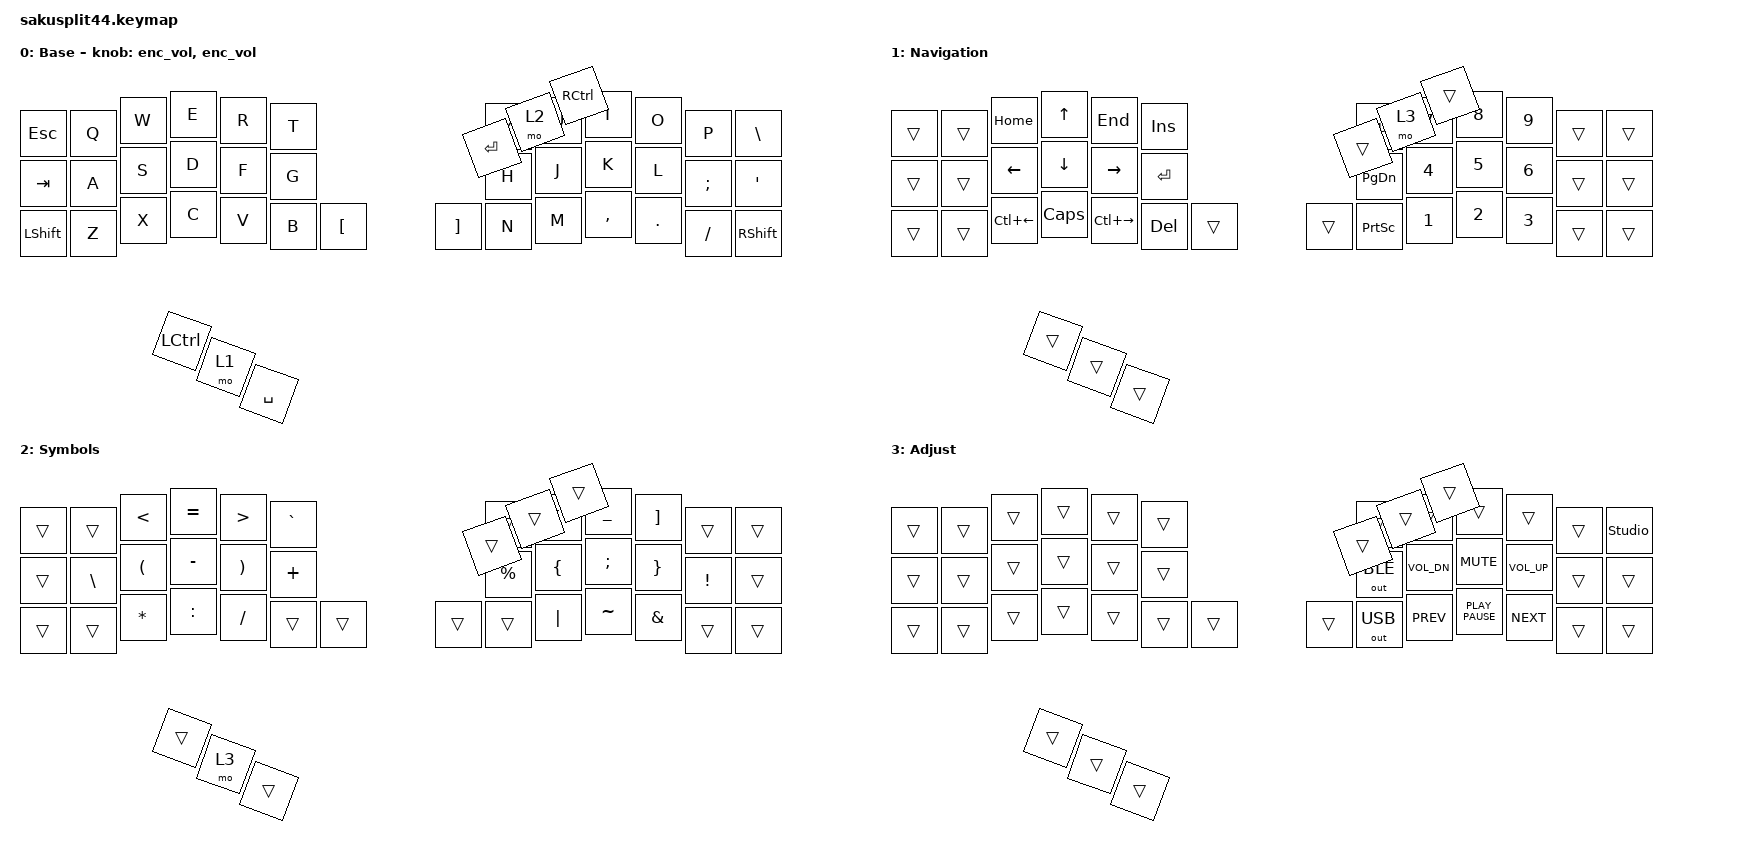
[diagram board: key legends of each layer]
#include "keys_ru.h"
#include <behaviors.dtsi>
#include <dt-bindings/zmk/bt.h>
#include <dt-bindings/zmk/keys.h>
#include <dt-bindings/zmk/outputs.h>

/ {
    behaviors {
        enc_vol: enc_vol {
            compatible = "zmk,behavior-sensor-rotate";
            label = "ENC_VOL";
            #sensor-binding-cells = <0>;
            bindings = <&kp C_VOL_UP>, <&kp C_VOL_DN>;
        };
    };

    keymap {
        compatible = "zmk,keymap";

        base {
            bindings = <
&kp ESC    &kp Q   &kp W     &kp E     &kp R      &kp T                           &kp Y   &kp U      &kp I      &kp O     &kp P     &kp BSLH
&kp TAB    &kp A   &kp S     &kp D     &kp F      &kp G                           &kp H   &kp J      &kp K      &kp L     &kp SEMI  &kp SQT
&kp LSHFT  &kp Z   &kp X     &kp C     &kp V      &kp B   &kp LBKT     &kp RBKT   &kp N   &kp M      &kp COMMA  &kp DOT   &kp FSLH  &kp RSHFT
                                       &kp LCTRL  &mo 1   &kp SPACE    &kp ENTER  &mo 2   &kp RCTRL  
            >;

            display-name = "Base";
            sensor-bindings =
                <&enc_vol>,
                <&enc_vol>;
        };

        nav {
            bindings = <
&trans  &trans  &kp HOME      &kp UP    &kp END        &kp INS                    &kp PG_UP        &kp N7  &kp N8  &kp N9   &trans   &trans
&trans  &trans  &kp LEFT      &kp DOWN  &kp RIGHT      &kp RET                    &kp PG_DN        &kp N4  &kp N5  &kp N6   &trans   &trans
&trans  &trans  &kp LC(LEFT)  &kp CAPS  &kp LC(RIGHT)  &kp DEL  &trans    &trans  &kp PRINTSCREEN  &kp N1  &kp N2  &kp N3   &trans   &trans
                                        &trans         &trans   &trans    &trans  &mo 3            &trans
            >;

            display-name = "Navigation";
        };

        sym {
            bindings = <
&trans  &trans    &kp LT    &kp EQUAL  &kp GT    &kp GRAVE                    &trans     &kp LBKT  &kp UNDER  &kp RBKT  &trans    &trans
&trans  &kp BSLH  &kp LPAR  &kp MINUS  &kp RPAR  &kp PLUS                     &kp PRCNT  &kp LBRC  &kp SEMI   &kp RBRC  &kp EXCL  &trans
&trans  &trans    &kp STAR  &kp COLON  &kp FSLH  &trans     &trans    &trans  &trans     &kp PIPE  &kp TILDE  &kp AMPS  &trans    &trans
                                       &trans    &mo 3      &trans    &trans  &trans     &trans
            >;

            display-name = "Symbols";
        };

        adj {
            bindings = <
&trans       &trans  &trans  &trans  &trans  &trans                    &trans        &trans        &trans            &trans        &trans        &studio_unlock
&trans       &trans  &trans  &trans  &trans  &trans                    &out OUT_BLE  &kp C_VOL_DN  &kp K_MUTE        &kp C_VOL_UP  &trans        &trans
&trans       &trans  &trans  &trans  &trans  &trans  &trans    &trans  &out OUT_USB  &kp K_PREV    &kp K_PLAY_PAUSE  &kp K_NEXT    &trans        &trans
                                     &trans  &trans  &trans    &trans  &trans        &trans
            >;

            display-name = "Adjust";
        };
    };
};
